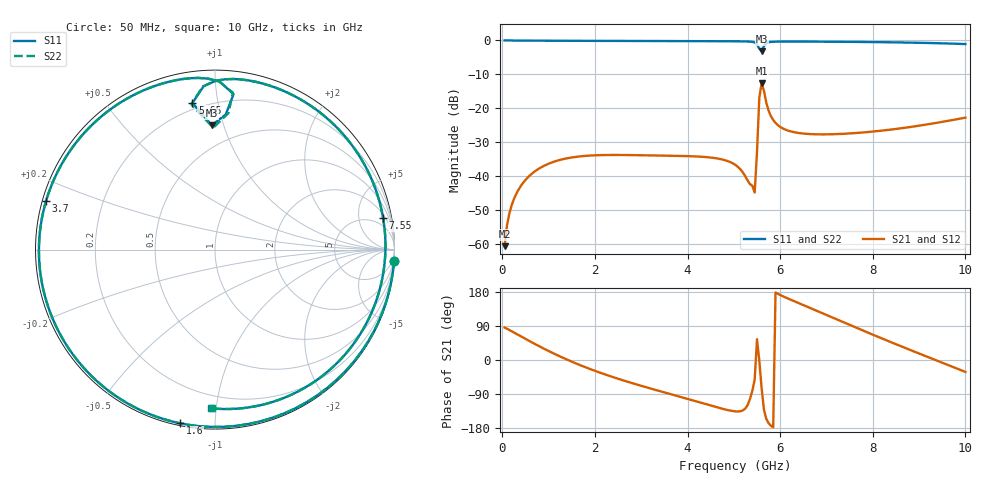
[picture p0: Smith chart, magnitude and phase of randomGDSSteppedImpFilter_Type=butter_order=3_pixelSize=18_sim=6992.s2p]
! freq	dB(S11)	phase(S11)	dB(S12)	phase(S12)
!  dB(S21)	phase(S21)	dB(S22)	phase(S22)
!S-par simulation data
#  GHz  S  DB  R 50
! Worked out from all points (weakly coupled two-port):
!   200 points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, 50 MHz to 10 GHz, reference 50 ohm
!   highest |S21| = -12.64 dB at 5.6 GHz (marker M1); lowest = -60.7 dB at 50 MHz (marker M2)
!   lowest |S11| = -3.2 dB at 5.6 GHz (marker M3), VSWR 5.52, Z = 17.1 + j45.7 ohm
!   |S11| at or under -10 dB: nowhere
!   |S22| runs from -3.4 to 0.0 dB; largest |S21 - S12| = 0
!   S11 on the Smith chart (normalised r, x): 50 MHz: 0, -33; 1.6 GHz: 0.01, -0.82; 3.7 GHz: 0.01, +0.14; 5.65 GHz: 0.16, +0.84; 7.55 GHz: 3, +10; 10 GHz: 0.12, -0.97
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0.05  -0.00 -3.5  -60.67 85.7  -60.67 85.7  -0.00 -3.5
0.2  -0.02 -14.0  -48.71 76.0  -48.71 76.0  -0.02 -13.9
0.45  -0.04 -31.0  -41.98 59.0  -41.98 59.0  -0.04 -31.0
1  -0.08 -66.7  -36.35 23.7  -36.35 23.7  -0.08 -66.7
1.6  -0.11 -101.4  -34.31 -9.5  -34.31 -9.5  -0.11 -101.4
1.75  -0.12 -109.4  -34.09 -16.9  -34.09 -16.9  -0.12 -109.4
2.55  -0.14 -147.9  -33.77 -51.5  -33.77 -51.5  -0.14 -147.9
3.4  -0.17 176.1  -33.94 -82.0  -33.94 -82.0  -0.17 176.1
3.7  -0.18 164.0  -34.01 -92.3  -34.01 -92.3  -0.18 164.1
5.05  -0.25 109.8  -36.87 -135.7  -36.87 -135.7  -0.25 109.9
5.45  -0.58 88.4  -44.86 -51.5  -44.86 -51.5  -0.56 88.6
5.5  -1.19 83.2  -32.96 54.7  -32.96 54.7  -1.11 83.5
5.55  -2.44 85.5  -16.88 -1.8  -16.88 -1.8  -2.33 84.3
5.6  -3.18 91.5  -12.64 -74.4  -12.64 -74.4  -3.36 90.8
5.65  -1.65 98.7  -14.82 -131.0  -14.82 -131.0  -1.73 99.2
5.75  -0.54 89.8  -20.68 -166.6  -20.68 -166.6  -0.55 90.1
5.95  -0.35 78.6  -24.97 174.6  -24.97 174.6  -0.35 78.7
6.7  -0.34 46.0  -27.65 134.6  -27.65 134.6  -0.34 46.2
7.55  -0.42 10.6  -27.38 90.2  -27.38 90.2  -0.42 10.7
8.35  -0.54 -22.3  -26.35 49.2  -26.35 49.2  -0.53 -22.1
9.25  -0.76 -59.2  -24.59 5.0  -24.59 5.0  -0.76 -58.9
10  -1.07 -91.5  -22.77 -31.4  -22.77 -31.4  -1.06 -91.2
